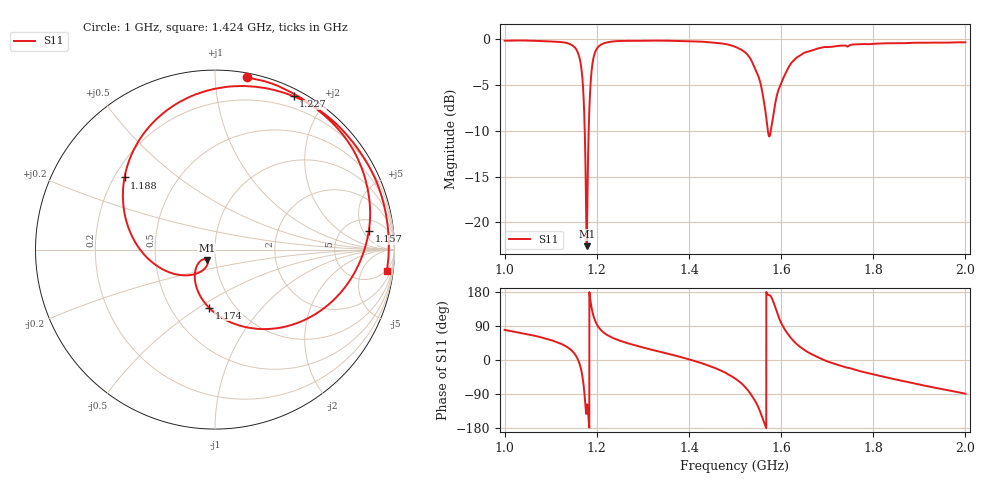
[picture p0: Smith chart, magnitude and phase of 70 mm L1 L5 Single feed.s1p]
#  HZ  S  RI  R  50.00
! Rohde & Schwarz Vector Network Analyzer
! Rohde-Schwarz,ZND-2Port,1328517092101111,3.20
! Created: UTC 1/8/2024, 12:07:59 PM
! freq[Hz]  re:S11  im:S11
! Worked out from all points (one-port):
!   5001 points, 1 GHz to 2 GHz, reference 50 ohm
!   lowest |S11| = -22.6 dB at 1.178 GHz (marker M1), VSWR 1.16, Z = 45.3 - j5.3 ohm
!   |S11| at or under -10 dB: 1.174 GHz to 1.182 GHz (8.519 MHz wide, 0.723 % of centre); 1.571243 GHz to 1.577824 GHz (6.581 MHz wide, 0.418 % of centre)
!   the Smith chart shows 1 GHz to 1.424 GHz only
!   S11 on the Smith chart (normalised r, x): 1 GHz: 0.03, +1.20; 1.157 GHz: 8, +7; 1.174 GHz: 0.76, -0.55; 1.188 GHz: 0.24, +0.33; 1.227 GHz: 0.08, +1.63; 1.424 GHz: 4, -15
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1e9  0.1776 0.9593
1.125e9  0.7183 0.6326
1.1438e9  0.8285 0.4221
1.1568e9  0.8568 0.1031
1.163e9  0.7633 -0.1532
1.168e9  0.5134 -0.385
1.1738e9  -0.0341 -0.323
1.1782e9  -0.0462 -0.0582
1.1882e9  -0.504 0.4018
1.1938e9  -0.3088 0.7431
1.2e9  -0.0684 0.8787
1.227e9  0.4375 0.854
1.25e9  0.6115 0.7547
1.375e9  0.9566 0.1714
1.424e9  0.9573 -0.1182
1.4688e9  0.838 -0.4343
1.5e9  0.5986 -0.6776
1.5334e9  0.0172 -0.7782
1.5474e9  -0.2878 -0.5864
1.559e9  -0.4512 -0.2517
1.575e9  -0.291 0.0466
1.5876e9  -0.3335 0.2989
1.5992e9  -0.1014 0.5541
1.625e9  0.4538 0.5987
1.675e9  0.8639 0.1542
1.75e9  0.8575 -0.3432
1.875e9  0.4973 -0.8058
2e9  0.0192 -0.955
